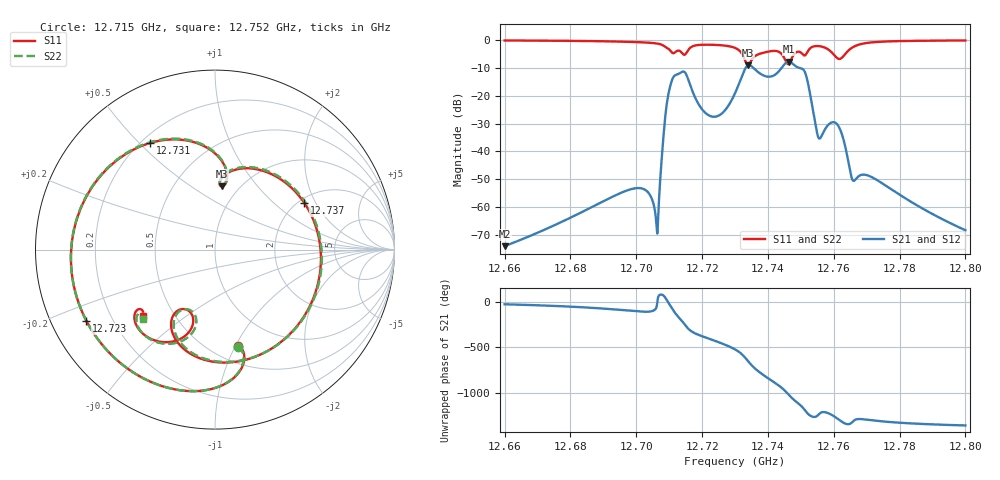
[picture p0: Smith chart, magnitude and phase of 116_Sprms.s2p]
! TOUCHSTONE file generated by CST MICROWAVE STUDIO
! Date and time: Wed Jul 31 16:38:10 2024
! Project name: WaveGuide_BPF-Ver4.1_U-shape_Ku_T3_C4_CWA_2.cst
! Parameters = {cavity_h=16; cavity_l0=10; cavity_l1=15.2013; cavity_l2=16.8152; cavity_l3=17.0637; cavity_l4=17.2971; cavity_l5=17.1005; cavity_l6=17.6101; cavity_r=2.5; cavity_screw_l=0.5; cavity_screw_r=1.5; cavity_w=8; iris_h00=0; iris_h01=8.836; iris_h112=0; iris_h12=5.5873; iris_h211=3.658; ir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
! Header version: 2018
! Port assignment regex: !\s*Touchstone port\s*([0-9]+)\s*=\s*(CST MWS port|CST DS port)\s*([0-9]+|Zmin|Zmax)\s*\(\"(.*)\"\)(\s*mode\s*([0-9]+))?.*
! Touchstone port assignment:
! Touchstone port 1 = CST MWS port 1 ("")
! Touchstone port 2 = CST MWS port 2 ("")
# GHz S RI R 50
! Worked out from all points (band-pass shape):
!   5001 points, 12.66 GHz to 12.8 GHz, reference 50 ohm
!   highest |S21| = -7.75 dB at 12.746 GHz (marker M1); lowest = -74.0 dB at 12.66 GHz (marker M2)
!   |S21| within 3 dB of the highest: 12.73289 GHz to 12.73626 GHz (3.364 MHz wide, 0.0264 % of centre); 12.74368 GHz to 12.75085 GHz (7.177 MHz wide, 0.0563 % of centre)
!   lowest |S11| = -9.0 dB at 12.734 GHz (marker M3), VSWR 2.10, Z = 41.6 + j33.5 ohm
!   |S11| at or under -10 dB: nowhere
!   |S22| runs from -8.8 to -0.2 dB; largest |S21 - S12| = 1e-09
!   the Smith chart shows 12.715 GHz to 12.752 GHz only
!   S11 on the Smith chart (normalised r, x): 12.715 GHz: 0.67, -1.02; 12.723 GHz: 0.11, -0.26; 12.731 GHz: 0.23, +0.54; 12.737 GHz: 2.14, +1.63; 12.752 GHz: 0.33, -0.35
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12.66  0.3657 0.9095  0.00018 -8.67e-05  0.00018 -8.67e-05  0.3682 0.9086
12.68335  0.7688 0.5749  0.000429 -0.000688  0.000429 -0.000688  0.7694 0.5745
12.7004  0.8901 -0.208  -0.000531 -0.00214  -0.000531 -0.00214  0.8908 -0.2065
12.70668  0.5775 -0.6329  0.000401 0.000574  0.000401 0.000574  0.579 -0.6317
12.70987  0.2428 -0.6426  0.1109 -0.0285  0.1109 -0.0285  0.2475 -0.641
12.71485  0.1278 -0.5347  -0.0701 0.2493  -0.0701 0.2493  0.1272 -0.5426
12.71849  -0.1959 -0.7835  0.0784 0.00486  0.0784 0.00486  -0.203 -0.7822
12.72331  -0.7161 -0.3977  0.0205 -0.0367  0.0205 -0.0367  -0.7202 -0.3902
12.73  -0.4645 0.5513  -0.1058 -0.0322  -0.1058 -0.0322  -0.4619 0.5566
12.73056  -0.3603 0.5944  -0.1313 -0.0113  -0.1313 -0.0113  -0.3582 0.599
12.73392  0.0368 0.3521  0.1237 0.3268  0.1237 0.3268  0.0378 0.3604
12.73739  0.4981 0.2595  0.1549 -0.203  0.1549 -0.203  0.4967 0.2736
12.74187  0.2096 -0.6022  -0.2249 -0.0583  -0.2249 -0.0583  0.2321 -0.593
12.74627  -0.1422 -0.3445  0.2114 0.3511  0.2114 0.3511  -0.1275 -0.3441
12.7515  -0.4022 -0.3691  -0.1396 -0.1964  -0.1396 -0.1964  -0.4017 -0.3854
12.75335  -0.6568 -0.3516  -0.0715 0.00308  -0.0715 0.00308  -0.6539 -0.3641
12.75556  -0.7749 -0.00531  -0.0155 -0.00705  -0.0155 -0.00705  -0.777 -0.0221
12.75943  -0.23 0.5501  -0.0323 -0.00814  -0.0323 -0.00814  -0.2541 0.545
12.76273  0.481 -0.1237  -0.00722 0.0168  -0.00722 0.0168  0.4788 -0.1037
12.76662  -0.1515 -0.7699  -0.00252 0.0019  -0.00252 0.0019  -0.1465 -0.7683
12.77668  -0.8768 -0.3475  -0.00103 0.00201  -0.00103 0.00201  -0.8774 -0.3456
12.8  -0.9463 0.2553  7.7e-05 0.000379  7.7e-05 0.000379  -0.9452 0.2591
